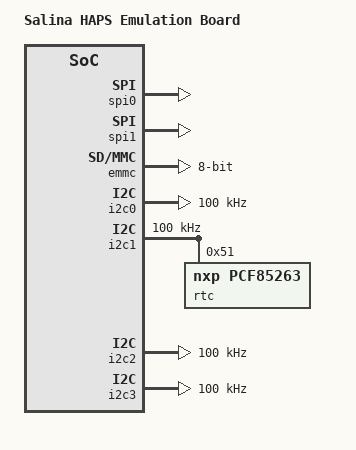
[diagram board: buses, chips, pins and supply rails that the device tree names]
// SPDX-License-Identifier: (GPL-2.0-only or BSD-2-Clause)
/*
 * Device Tree file for AMD Pensando Salina Emulation Board.
 *
 * Copyright 2023-2024 Advanced Micro Devices, Inc.
 */

/dts-v1/;

#include "salina-haps.dtsi"
#include "salina-4core-spin-table.dtsi"
#include "salina-haps-common.dtsi"
#include "elba-flash-parts.dtsi"

/ {
	model = "Salina HAPS Emulation Board";
	compatible = "pensando,salina";

	aliases {
		serial0 = &uart0;
		spi0 = &spi0;
		spi1 = &spi1;
		spi2 = &qspi;
	};

	chosen {
		stdout-path = "serial0:19200n8";
	};
};

&spi0 {
	status = "okay";
};

&spi1 {
	status = "okay";
};

&emmc_clk {
	clock-frequency = <208000000>;
};

&emmc {
	bus-width = <8>;
	status = "ok";
};

&i2c0 {
	clock-frequency = <100000>;
	status = "okay";
};

&i2c1 {
	clock-frequency = <100000>;
	status = "okay";

	rtc@51 {
		compatible = "nxp,pcf85263";
		reg = <0x51>;
	};
};

&i2c2 {
	clock-frequency = <100000>;
	status = "okay";
};

&i2c3 {
	clock-frequency = <100000>;
	status = "okay";
};
